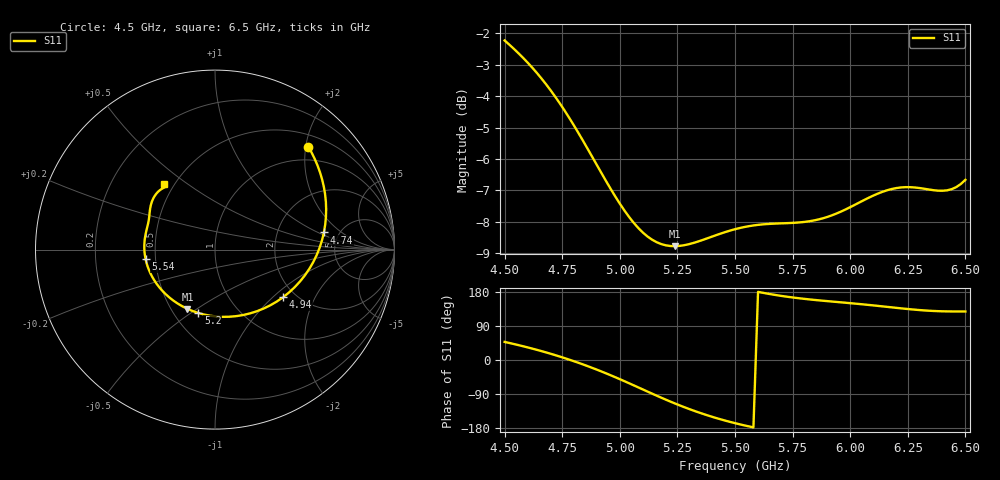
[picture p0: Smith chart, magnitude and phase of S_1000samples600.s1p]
! TOUCHSTONE file generated by CST MICROWAVE STUDIO
! Date and time: Fri Oct 28 17:47:17 2022
! Project name: L.cst
! Parameters = {Di=1.27; Epsilon_r=1.56; InnerDiameter=1.27; Length=2; Lf=10; Lg=60; OuterConductorThickness=0.2921; OuterDiameter=3.6; Wf=3; Wp=41.2; de=1.5; df=6.8; g=0.8; gx=2.03525; gy=0.677813; h=2.34; hf=1.524; px=11.9522; py=9.53963; w=9.7; wx=9.9169; wy=8.86182}
! Header version: 2018
! Port assignment regex: !\s*Touchstone port\s*([0-9]+)\s*=\s*(CST MWS port|CST DS port)\s*([0-9]+|Zmin|Zmax)\s*\(\"(.*)\"\)(\s*mode\s*([0-9]+))?.*
! Touchstone port assignment:
! Touchstone port 1 = CST MWS port 1 ("")
# GHz S DB R 50
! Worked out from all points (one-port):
!   101 points, 4.5 GHz to 6.5 GHz, reference 50 ohm
!   lowest |S11| = -8.8 dB at 5.24 GHz (marker M1), VSWR 2.15, Z = 30.1 - j23 ohm
!   |S11| at or under -10 dB: nowhere
!   S11 on the Smith chart (normalised r, x): 4.5 GHz: 0.72, +2.05; 4.74 GHz: 3.80, +1.17; 4.94 GHz: 1.72, -1.16; 5.2 GHz: 0.66, -0.54; 5.54 GHz: 0.44, -0.05; 6.5 GHz: 0.44, +0.41
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4.5  -2.23 47.7
4.56  -2.63 39.3
4.62  -3.09 30.1
4.68  -3.62 20.0
4.74  -4.23 9.0
4.76  -4.45 5.1
4.84  -5.42 -11.6
4.9  -6.19 -25.4
4.94  -6.70 -35.1
5  -7.42 -50.6
5.04  -7.84 -61.3
5.1  -8.34 -77.7
5.14  -8.57 -88.7
5.2  -8.75 -104.7
5.24  -8.78 -114.9
5.26  -8.77 -119.8
5.32  -8.67 -133.5
5.38  -8.53 -145.9
5.44  -8.37 -156.9
5.5  -8.24 -166.7
5.54  -8.17 -172.5
5.66  -8.06 173.1
5.76  -8.03 164.3
6  -7.53 150.0
6.14  -7.05 141.5
6.26  -6.90 134.0
6.4  -7.01 128.5
6.5  -6.66 128.0
